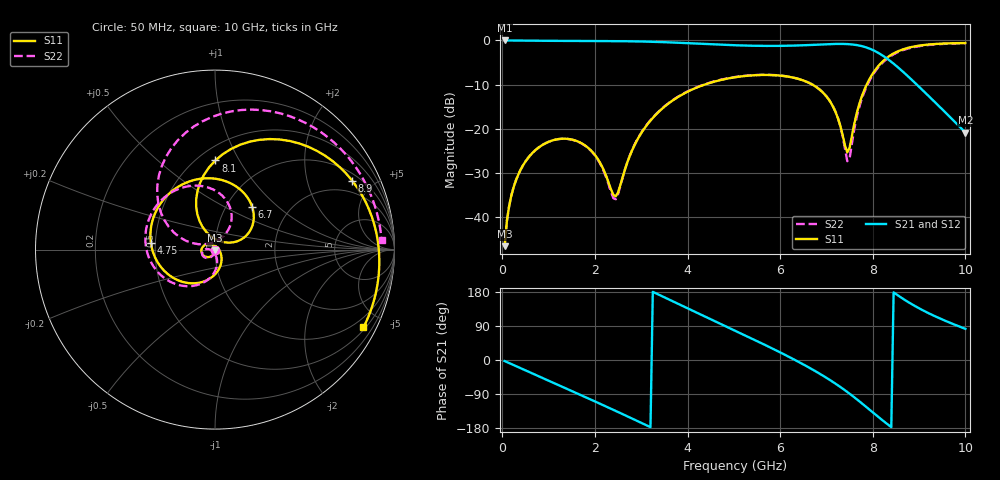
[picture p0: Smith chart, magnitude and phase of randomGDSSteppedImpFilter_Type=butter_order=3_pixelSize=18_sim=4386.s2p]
! freq	dB(S11)	phase(S11)	dB(S12)	phase(S12)
!  dB(S21)	phase(S21)	dB(S22)	phase(S22)
!S-par simulation data
#  GHz  S  DB  R 50
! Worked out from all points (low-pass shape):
!   200 points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, 50 MHz to 10 GHz, reference 50 ohm
!   highest |S21| = -0.01 dB at 50 MHz (marker M1); lowest = -20.9 dB at 10 GHz (marker M2)
!   |S21| within 3 dB of the highest: start of sweep to 8.149 GHz
!   lowest |S11| = -46.7 dB at 50 MHz (marker M3), VSWR 1.01, Z = 50 - j0.463 ohm
!   |S11| at or under -10 dB: start of sweep to 4.376 GHz; 6.692 GHz to 7.871 GHz (1.179 GHz wide, 16.2 % of centre)
!   |S22| runs from -46.7 to -0.6 dB; largest |S21 - S12| = 0
!   S11 on the Smith chart (normalised r, x): 50 MHz: 1.00, -0.01; 4.75 GHz: 0.47, +0.04; 6.7 GHz: 1.32, +0.69; 8.1 GHz: 0.61, +0.80; 8.9 GHz: 1.32, +3.78; 10 GHz: 0.59, -3.98
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0.05  -46.68 -88.4  -0.01 -2.8  -0.01 -2.8  -46.68 -87.9
0.2  -35.01 -100.7  -0.02 -11.0  -0.02 -11.0  -35.00 -99.1
0.55  -26.76 -122.7  -0.05 -30.1  -0.05 -30.1  -26.75 -118.1
1.2  -22.41 -162.2  -0.10 -65.4  -0.10 -65.4  -22.41 -150.6
1.75  -23.57 161.7  -0.13 -95.5  -0.13 -95.5  -23.62 -175.2
2.1  -27.55 131.4  -0.14 -114.8  -0.14 -114.8  -27.71 175.7
2.45  -35.38 38.3  -0.16 -134.4  -0.16 -134.4  -36.04 -126.4
2.85  -23.87 -55.1  -0.21 -157.1  -0.21 -157.1  -23.80 -79.5
3.4  -15.97 -98.3  -0.36 171.2  -0.36 171.2  -15.90 -100.2
4.1  -11.14 -144.4  -0.67 130.8  -0.67 130.8  -11.07 -134.7
4.75  -8.90 174.2  -0.98 93.4  -0.98 93.4  -8.84 -167.8
5.05  -8.32 155.3  -1.10 76.2  -1.10 76.2  -8.27 176.8
5.95  -7.94 97.8  -1.24 23.2  -1.24 23.2  -7.92 129.2
6.7  -10.05 48.6  -1.01 -25.2  -1.01 -25.2  -10.04 85.6
7.2  -16.34 20.9  -0.79 -62.9  -0.79 -62.9  -16.29 57.2
7.45  -25.40 64.4  -0.83 -84.4  -0.83 -84.4  -27.40 94.8
7.75  -13.11 116.5  -1.26 -112.9  -1.26 -112.9  -13.66 160.7
8.1  -6.08 89.8  -2.71 -148.3  -2.71 -148.3  -6.35 131.9
8.35  -3.60 67.9  -4.44 -172.5  -4.44 -172.5  -3.82 108.7
8.9  -1.36 26.7  -9.51 143.1  -9.51 143.1  -1.50 64.4
9.45  -0.75 -3.9  -15.11 109.6  -15.11 109.6  -0.83 30.4
10  -0.59 -27.7  -20.91 82.2  -20.91 82.2  -0.63 3.3
